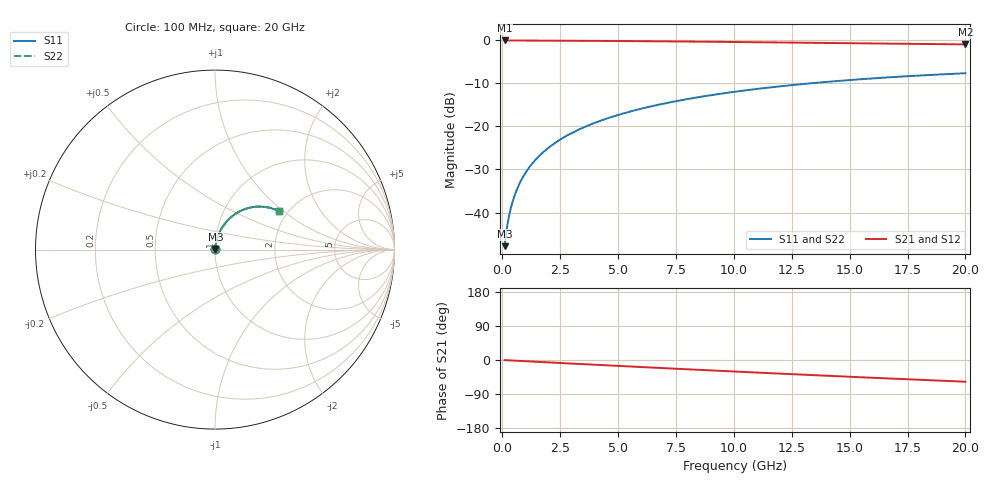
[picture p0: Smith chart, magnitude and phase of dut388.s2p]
! Touchstone file exported from HFSS 2026.1.0
!  File:  C:/ffzhzh/LocalFiles/Ansys_Project_Files/temp_train_BSMRDL_388_1783012118_55676.aedt
!  Generated:  01:10:20 AM Jul  3, 2026
!  Design:  BSMRDL
!  Project:  temp_train_BSMRDL_388_1783012118_55676
! Variables:
!  h_bsmrdl = 5.32um
!  h_ox = 20um
!  h_rdl = 5um
!  h_sub = 80um
!  h_tmrdl = 5um
!  h_tsv = 80um
!  h_via = 3um
!  l_bsmrdl = 925.85um
!  l_sub = 1325.85um
!  l_tmrdl = 200um
!  m_sub = 200um
!  pitch = 51.77um
!  r_tsv = 6um
!  s_tmrdl = 10um
!  w_bsmrdl = 26.41um
!  w_sub = 500um
!  w_tmrdl = 12um
!  x_tsv_center1 = 206um
!  x_tsv_center2 = 1158.26um
!  x_tsv_center3 = 1370.26um
!  x_tsv_center4 = 2322.52um
!  x_tsv_center5 = 2534.52um
!  x_tsv_center6 = 3486.78um
# GHz S MA R 50.000000
! Terminal data exported
! Port[1] = BSM_RDL1_1_T1
! Port[2] = BSM_RDL1_1_T2
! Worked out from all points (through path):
!   200 points, 100 MHz to 20 GHz, reference 50 ohm
!   highest |S21| = -0.02 dB at 100 MHz (marker M1); lowest = -0.9 dB at 20 GHz (marker M2)
!   group delay of S21, straight-line fit = 7.95 ps
!   lowest |S11| = -47.8 dB at 100 MHz (marker M3), VSWR 1.01, Z = 50.3 + j0.315 ohm
!   |S11| at or under -10 dB: start of sweep to 13.27 GHz
!   |S22| runs from -47.8 to -7.6 dB; largest |S21 - S12| = 2.1e-14
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0.1  0.004063 50.5  0.9974 -0.3  0.9974 -0.3  0.004063 50.5
! Gamma 0 0 0 0
! Port Impedance 50 0 50 0
0.2  0.006714 64.7  0.9972 -0.7  0.9972 -0.7  0.006714 64.7
0.3  0.009423 70.7  0.997 -1.0  0.997 -1.0  0.009423 70.7
0.4  0.01215 74.0  0.9969 -1.3  0.9969 -1.3  0.01215 74.0
0.5  0.0149 76.1  0.9967 -1.6  0.9967 -1.6  0.0149 76.1
0.7  0.02045 78.4  0.9965 -2.2  0.9965 -2.2  0.02045 78.4
0.8  0.02324 79.1  0.9964 -2.6  0.9964 -2.6  0.02324 79.1
1  0.02883 79.8  0.9961 -3.2  0.9961 -3.2  0.02883 79.8
1.2  0.03443 80.1  0.9958 -3.8  0.9958 -3.8  0.03443 80.1
1.4  0.04001 80.1  0.9954 -4.5  0.9954 -4.5  0.04001 80.1
1.7  0.04836 79.8  0.9948 -5.4  0.9948 -5.4  0.04836 79.8
2  0.05665 79.2  0.9941 -6.4  0.9941 -6.4  0.05665 79.3
2.7  0.07574 77.6  0.9921 -8.5  0.9921 -8.5  0.07574 77.6
3.5  0.09709 75.5  0.9894 -11.0  0.9894 -11.0  0.09709 75.5
4.2  0.1154 73.5  0.9867 -13.2  0.9867 -13.2  0.1154 73.6
5  0.1358 71.3  0.9834 -15.6  0.9834 -15.6  0.1358 71.3
6.8  0.18 66.2  0.975 -21.0  0.975 -21.0  0.18 66.3
8.3  0.2149 62.0  0.9672 -25.4  0.9672 -25.4  0.2149 62.1
10.1  0.2542 57.1  0.9569 -30.6  0.9569 -30.6  0.2542 57.1
13.4  0.3185 48.1  0.9367 -39.9  0.9367 -39.9  0.3185 48.2
16.7  0.3721 39.4  0.9164 -48.8  0.9164 -48.8  0.3721 39.5
20  0.4149 31.1  0.8978 -57.3  0.8978 -57.3  0.4148 31.2
